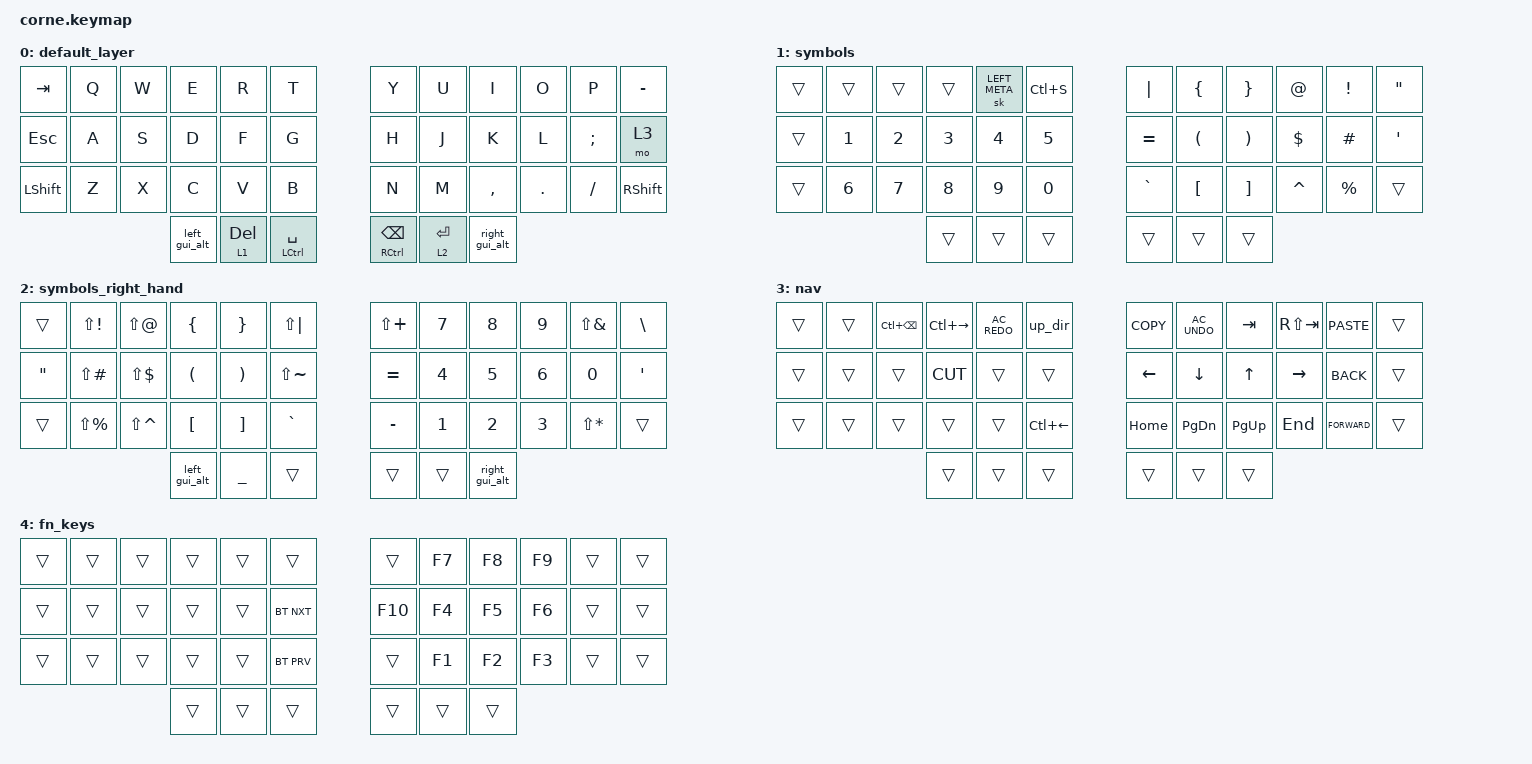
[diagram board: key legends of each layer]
/* Copyright (c) 2020 The ZMK Contributors
 *
 * SPDX-License-Identifier: MIT
 */

#include <behaviors.dtsi>
#include <dt-bindings/zmk/bt.h>
#include <dt-bindings/zmk/keys.h>

/ {
    behaviors {
        left_gui_alt: left_gui_alt {
            compatible = "zmk,behavior-tap-dance";
            label = "LEFT_GUI_ALT";
            #binding-cells = <0>;
            bindings = <&kp LCMD>, <&kp LEFT_ALT>;
        };

        right_gui_alt: right_gui_alt {
            compatible = "zmk,behavior-tap-dance";
            label = "RIGHT_GUI_ALT";
            #binding-cells = <0>;
            bindings = <&kp RGUI>, <&kp RALT>;
        };

        mt: mod_tap {
            compatible = "zmk,behavior-hold-tap";
            #binding-cells = <2>;
            flavor = "balanced";
            tapping-term-ms = <160>;
            bindings = <&kp>, <&kp>;

            require-prior-idle-ms = <115>;
            display-name = "Mod-Tap";
            quick-tap-ms = <160>;
        };

        lt: layer_tap {
            compatible = "zmk,behavior-hold-tap";
            #binding-cells = <2>;
            flavor = "balanced";
            tapping-term-ms = <160>;
            bindings = <&mo>, <&kp>;

            display-name = "Layer-Tap";
        };
    };

    combos {
        compatible = "zmk,combos";

        sym_comb {
            bindings = <&mo 4>;
            key-positions = <12 23>;
        };
    };

    macros {
        up_dir: up_dir {
            compatible = "zmk,behavior-macro";
            #binding-cells = <0>;
            bindings = <&kp DOT &kp DOT &kp FSLH>;
            label = "UP_DIR";
        };
    };

    keymap {
        compatible = "zmk,keymap";

        default_layer {
            // -----------------------------------------------------------------------------------------
            // |  TAB |  Q  |  W  |  E  |  R  |  T  |   |  Y  |  U   |  I  |  O  |  P  | BSPC |
            // |  ESC |  A  |  S  |  D  |  F  |  G  |   |  H  |  J   |  K  |  L  |  ;  |  '   |
            // | SHFT |  Z  |  X  |  C  |  V  |  B  |   |  N  |  M   |  ,  |  .  |  /  | SHFT |
            //                    | GUI | LWR | SPC |   | ENT | RSE  | ALT |

            bindings = <
&kp TAB     &kp Q  &kp W  &kp E          &kp R         &kp T                     &kp Y                        &kp U        &kp I           &kp O    &kp P      &kp MINUS
&kp ESCAPE  &kp A  &kp S  &kp D          &kp F         &kp G                     &kp H                        &kp J        &kp K           &kp L    &kp SEMI   &mo 3
&kp LSHFT   &kp Z  &kp X  &kp C          &kp V         &kp B                     &kp N                        &kp M        &kp COMMA       &kp DOT  &kp SLASH  &kp RSHIFT
                          &left_gui_alt  &lt 1 DELETE  &mt LEFT_CONTROL SPACE    &mt RIGHT_CONTROL BACKSPACE  &lt 2 ENTER  &right_gui_alt
            >;
        };

        symbols {
            // -----------------------------------------------------------------------------------------
            // |  TAB |  1  |  2  |  3  |  4  |  5  |   |  6  |  7  |  8  |  9  |  0  | BSPC |
            // | BTCLR| BT1 | BT2 | BT3 | BT4 | BT5 |   | LFT | DWN |  UP | RGT |     |      |
            // | SHFT |     |     |     |     |     |   |     |     |     |     |     |      |
            //                    | GUI |     | SPC |   | ENT |     | ALT |

            bindings = <
&trans  &trans  &trans  &trans  &sk LEFT_META  &kp LC(S)    &kp PIPE   &kp LEFT_BRACE        &kp RIGHT_BRACE        &kp AT_SIGN  &kp EXCLAMATION  &kp DOUBLE_QUOTES
&trans  &kp N1  &kp N2  &kp N3  &kp N4         &kp N5       &kp EQUAL  &kp LEFT_PARENTHESIS  &kp RIGHT_PARENTHESIS  &kp DOLLAR   &kp HASH         &kp SQT
&trans  &kp N6  &kp N7  &kp N8  &kp N9         &kp N0       &kp GRAVE  &kp LBKT              &kp RBKT               &kp CARET    &kp PERCENT      &trans
                        &trans  &trans         &trans       &trans     &trans                &trans
            >;
        };

        symbols_right_hand {
            bindings = <
&trans             &kp LS(EXCL)   &kp LS(AT)     &kp LEFT_BRACE        &kp RIGHT_BRACE        &kp LS(PIPE)     &kp LS(PLUS)  &kp N7  &kp N8          &kp N9  &kp LS(AMPS)  &kp BSLH
&kp DOUBLE_QUOTES  &kp LS(POUND)  &kp LS(DLLR)   &kp LEFT_PARENTHESIS  &kp RIGHT_PARENTHESIS  &kp LS(TILDE)    &kp EQUAL     &kp N4  &kp N5          &kp N6  &kp N0        &kp SQT
&trans             &kp LS(PRCNT)  &kp LS(CARET)  &kp LBKT              &kp RBKT               &kp GRAVE        &kp MINUS     &kp N1  &kp N2          &kp N3  &kp LS(STAR)  &trans
                                                 &left_gui_alt         &kp UNDERSCORE         &trans           &trans        &trans  &right_gui_alt
            >;
        };

        nav {
            // -----------------------------------------------------------------------------------------
            // |  TAB |  !  |  @  |  #  |  $  |  %  |   |  ^  |  &  |  *  |  (  |  )  | BSPC |
            // | CTRL |     |     |     |     |     |   |  -  |  =  |  [  |  ]  |  \  |  `   |
            // | SHFT |     |     |     |     |     |   |  _  |  +  |  {  |  }  | "|" |  ~   |
            //                    | GUI |     | SPC |   | ENT |     | ALT |

            bindings = <
&trans  &trans  &kp LC(BACKSPACE)  &kp LC(RIGHT)  &kp C_AC_REDO  &up_dir         &kp K_COPY  &kp C_AC_UNDO  &kp TAB    &kp RS(TAB)  &kp K_PASTE    &trans
&trans  &trans  &trans             &kp K_CUT      &trans         &trans          &kp LEFT    &kp DOWN       &kp UP     &kp RIGHT    &kp K_BACK     &trans
&trans  &trans  &trans             &trans         &trans         &kp LC(LEFT)    &kp HOME    &kp PAGE_DOWN  &kp PG_UP  &kp END      &kp K_FORWARD  &trans
                                   &trans         &trans         &trans          &trans      &trans         &trans
            >;
        };

        fn_keys {
            bindings = <
&trans  &trans  &trans  &trans  &trans  &trans        &trans   &kp F7  &kp F8  &kp F9  &trans  &trans
&trans  &trans  &trans  &trans  &trans  &bt BT_NXT    &kp F10  &kp F4  &kp F5  &kp F6  &trans  &trans
&trans  &trans  &trans  &trans  &trans  &bt BT_PRV    &trans   &kp F1  &kp F2  &kp F3  &trans  &trans
                        &trans  &trans  &trans        &trans   &trans  &trans
            >;
        };
    };
};
